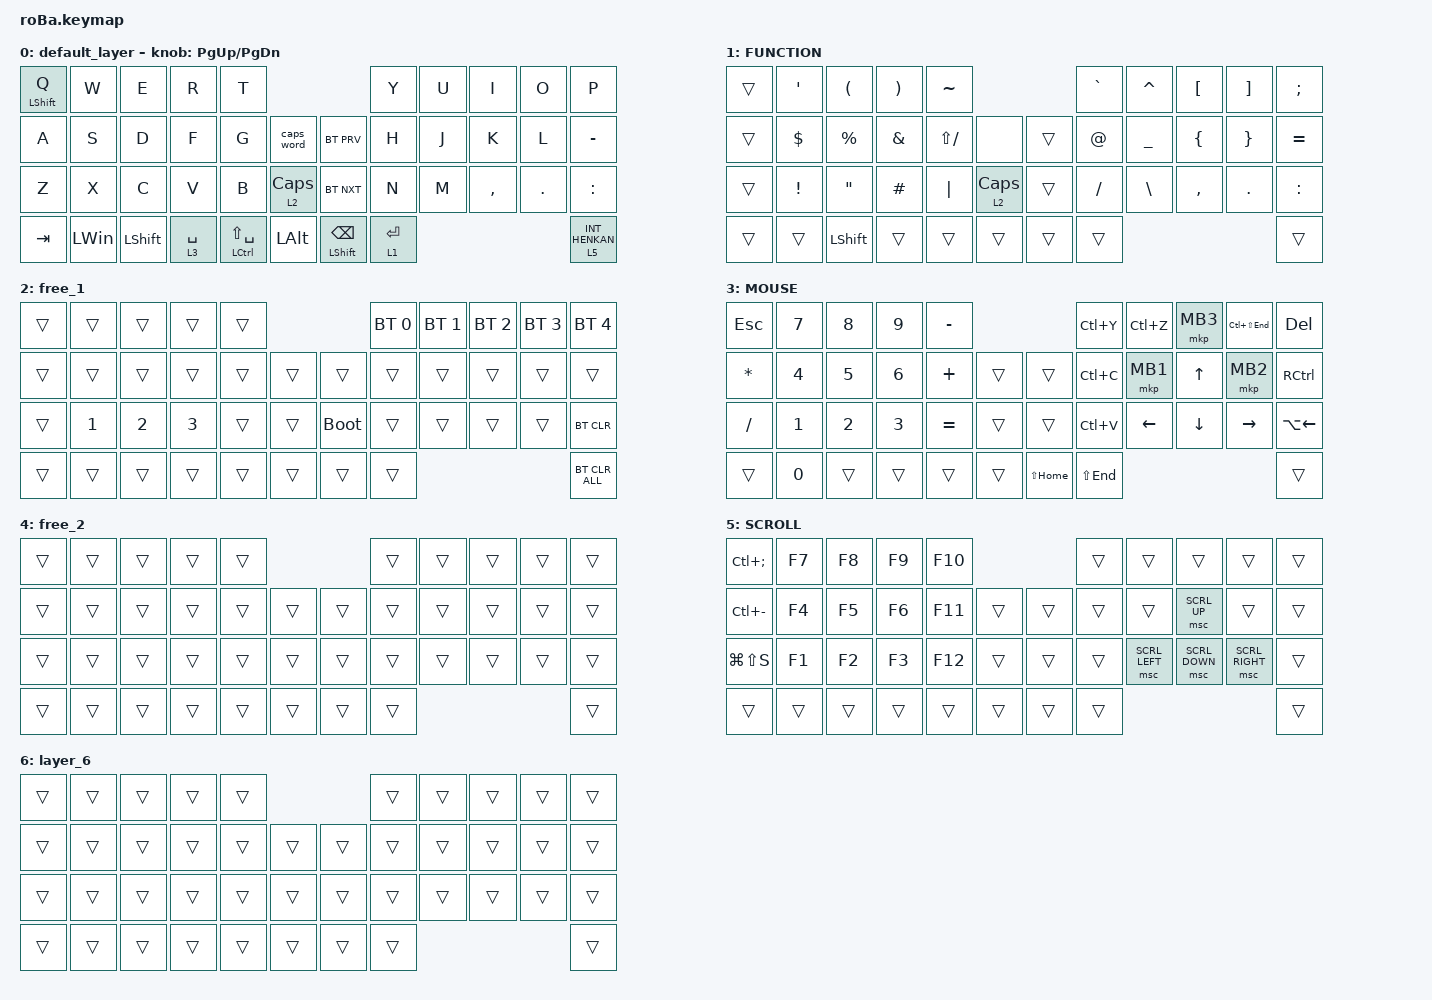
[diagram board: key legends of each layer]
#include <behaviors.dtsi>
#include <dt-bindings/zmk/bt.h>
#include <dt-bindings/zmk/keys.h>
#include <dt-bindings/zmk/pointing.h>
#include <dt-bindings/zmk/pointing.h>

#define MOUSE 4
#define SCROLL 5
#define NUM 6

&mt {
    flavor = "balanced";
    quick-tap-ms = <0>;
};

/ {
    combos {
        compatible = "zmk,combos";

        tab {
            bindings = <&kp TAB>;
            key-positions = <11 12>;
        };

        shift_tab {
            bindings = <&kp LS(TAB)>;
            key-positions = <12 13>;
        };

        muhennkann {
            bindings = <&to_layer_0 INT_MUHENKAN>;
            key-positions = <11 10>;
        };

        double_quotation {
            bindings = <&kp DOUBLE_QUOTES>;
            key-positions = <20 21>;
        };

        eq {
            bindings = <&kp EQUAL>;
            key-positions = <24 25>;
        };
    };

    macros {
        to_layer_0: to_layer_0 {
            compatible = "zmk,behavior-macro-one-param";
            #binding-cells = <1>;
            bindings = <&to 0 &macro_param_1to1 &kp MACRO_PLACEHOLDER>;
            label = "TO_LAYER_0";
        };
    };

    behaviors {
        lt_to_layer_0: lt_to_layer_0 {
            compatible = "zmk,behavior-hold-tap";
            label = "LAYER_TAP_TO_0";
            bindings = <&mo>, <&to_layer_0>;

            #binding-cells = <2>;
            tapping-term-ms = <200>;
        };
    };

    keymap {
        compatible = "zmk,keymap";

        default_layer {
            bindings = <
&mt LEFT_SHIFT Q  &kp W         &kp E           &kp R        &kp T                                                            &kp Y        &kp U  &kp I      &kp O    &kp P
&kp A             &kp S         &kp D           &kp F        &kp G                &caps_word        &bt BT_PRV                &kp H        &kp J  &kp K      &kp L    &kp MINUS
&kp Z             &kp X         &kp C           &kp V        &kp B                &lt 2 CAPS        &bt BT_NXT                &kp N        &kp M  &kp COMMA  &kp DOT  &kp COLON
&kp TAB           &kp LEFT_WIN  &kp LEFT_SHIFT  &lt 3 SPACE  &mt LCTRL LS(SPACE)  &kp LEFT_ALT      &mt LEFT_SHIFT BACKSPACE  &lt 1 ENTER                             &lt 5 INT_HENKAN
            >;

            sensor-bindings = <&inc_dec_kp PG_UP PAGE_DOWN>;
        };

        FUNCTION {
            bindings = <
&trans  &kp SINGLE_QUOTE  &kp LEFT_PARENTHESIS  &kp RIGHT_PARENTHESIS  &kp TILDE                              &kp GRAVE    &kp CARET       &kp LEFT_BRACKET  &kp RIGHT_BRACKET  &kp SEMICOLON
&trans  &kp DOLLAR        &kp PERCENT           &kp AMPERSAND          &kp LS(SLASH)  &none           &trans  &kp AT_SIGN  &kp UNDERSCORE  &kp LEFT_BRACE    &kp RIGHT_BRACE    &kp EQUAL
&trans  &kp EXCLAMATION   &kp DOUBLE_QUOTES     &kp HASH               &kp PIPE       &lt 2 CAPS      &trans  &kp SLASH    &kp BACKSLASH   &kp COMMA         &kp PERIOD         &kp COLON
&trans  &trans            &kp LEFT_SHIFT        &trans                 &trans         &trans          &trans  &trans                                                            &trans
            >;
        };

        free_1 {
            bindings = <
&trans  &trans        &trans        &trans        &trans                           &bt BT_SEL 0  &bt BT_SEL 1  &bt BT_SEL 2  &bt BT_SEL 3  &bt BT_SEL 4
&trans  &trans        &trans        &trans        &trans  &trans      &trans       &trans        &trans        &trans        &trans        &trans
&trans  &kp NUMBER_1  &kp NUMBER_2  &kp NUMBER_3  &trans  &trans      &bootloader  &trans        &trans        &trans        &trans        &bt BT_CLR
&trans  &trans        &trans        &trans        &trans  &trans      &trans       &trans                                                  &bt BT_CLR_ALL
            >;
        };

        MOUSE {
            bindings = <
&kp ESCAPE    &kp NUMBER_7  &kp NUMBER_8  &kp NUMBER_9  &kp MINUS                            &kp LC(Y)    &kp LC(Z)       &mkp MB3        &kp LC(LS(END))  &kp DELETE
&kp ASTERISK  &kp NUMBER_4  &kp NUMBER_5  &kp NUMBER_6  &kp PLUS   &trans      &trans        &kp LC(C)    &mkp MB1        &kp UP_ARROW    &mkp MB2         &kp RCTRL
&kp SLASH     &kp NUMBER_1  &kp NUMBER_2  &kp NUMBER_3  &kp EQUAL  &trans      &trans        &kp LC(V)    &kp LEFT_ARROW  &kp DOWN_ARROW  &kp RIGHT_ARROW  &kp LA(LEFT_ARROW)
&trans        &kp N0        &trans        &trans        &trans     &trans      &kp LS(HOME)  &kp LS(END)                                                   &trans
            >;
        };

        free_2 {
            bindings = <
&trans  &trans  &trans  &trans  &trans                      &trans  &trans  &trans  &trans  &trans
&trans  &trans  &trans  &trans  &trans  &trans      &trans  &trans  &trans  &trans  &trans  &trans
&trans  &trans  &trans  &trans  &trans  &trans      &trans  &trans  &trans  &trans  &trans  &trans
&trans  &trans  &trans  &trans  &trans  &trans      &trans  &trans                          &trans
            >;
        };

        SCROLL {
            bindings = <
&kp LC(SEMICOLON)  &kp F7  &kp F8  &kp F9  &kp F10                      &trans  &trans          &trans          &trans           &trans
&kp LC(MINUS)      &kp F4  &kp F5  &kp F6  &kp F11  &trans      &trans  &trans  &trans          &msc SCRL_UP    &trans           &trans
&kp LG(LS(S))      &kp F1  &kp F2  &kp F3  &kp F12  &trans      &trans  &trans  &msc SCRL_LEFT  &msc SCRL_DOWN  &msc SCRL_RIGHT  &trans
&trans             &trans  &trans  &trans  &trans   &trans      &trans  &trans                                                   &trans
            >;
        };

        layer_6 {
            bindings = <
&trans  &trans  &trans  &trans  &trans                      &trans  &trans  &trans  &trans  &trans
&trans  &trans  &trans  &trans  &trans  &trans      &trans  &trans  &trans  &trans  &trans  &trans
&trans  &trans  &trans  &trans  &trans  &trans      &trans  &trans  &trans  &trans  &trans  &trans
&trans  &trans  &trans  &trans  &trans  &trans      &trans  &trans                          &trans
            >;
        };
    };
};
